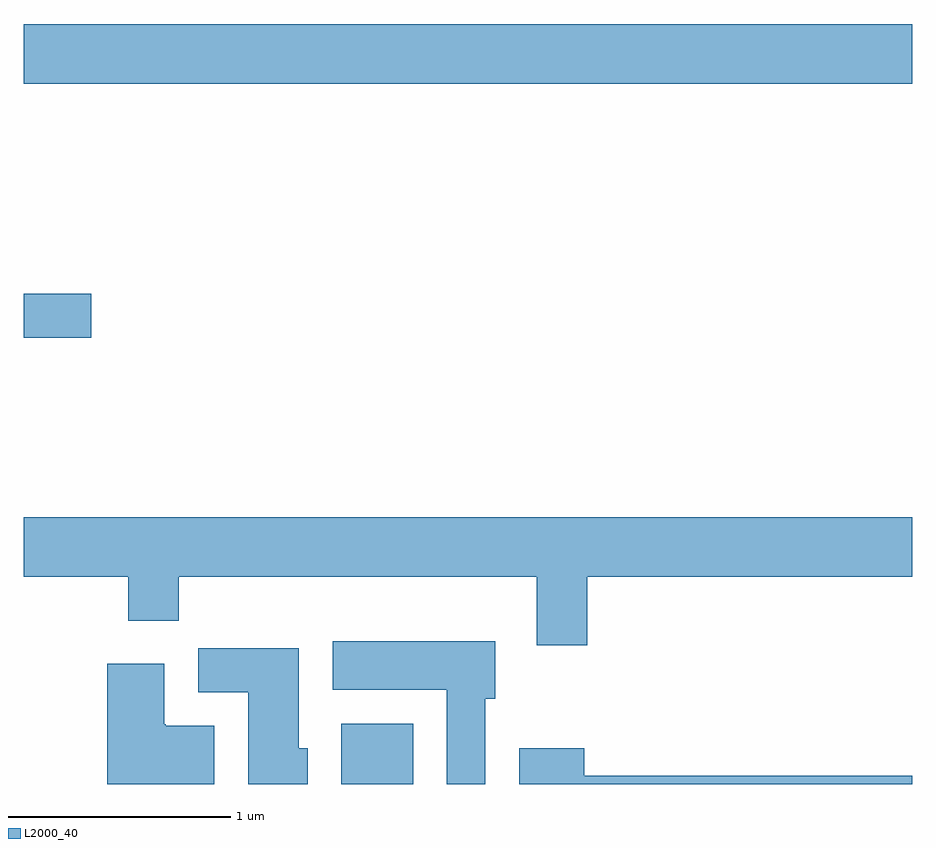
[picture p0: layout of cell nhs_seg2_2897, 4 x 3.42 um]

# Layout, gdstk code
import gdstk
lib = gdstk.Library(unit=1e-6, precision=1e-09)
def R(c, l, rs):  # rectangles x0, y0, x1, y1
    for r in rs: c.add(gdstk.rectangle(r[:2], r[2:], *l))
def P(c, l, *ps):  # polygons
    for p in ps: c.add(gdstk.Polygon(p, *l))
L2000_40 = (2000, 40)

nhs_seg2_2897 = lib.new_cell('nhs_seg2_2897')
R(nhs_seg2_2897, L2000_40, [(271.041,1071.802,271.364,1072.074), (269.611,1073.811,269.914,1074.009), (269.611,1074.956,273.611,1075.224)])
P(nhs_seg2_2897, L2000_40, [(272.149,1072.736),(273.611,1072.736),(273.611,1073.004),(269.611,1073.004),(269.611,1072.736),(270.081,1072.736),(270.081,1072.536),(270.309,1072.536),(270.309,1072.736),(271.921,1072.736),(271.921,1072.426),(272.149,1072.426)],
  [(271.689,1072.186),(271.734,1072.186),(271.734,1072.444),(271.001,1072.444),(271.001,1072.226),(271.516,1072.226),(271.516,1071.802),(271.689,1071.802)],
  [(270.889,1071.964),(270.849,1071.964),(270.849,1072.414),(270.396,1072.414),(270.396,1072.216),(270.621,1072.216),(270.621,1071.802),(270.889,1071.802)],
  [(270.469,1072.064),(270.25,1072.064),(270.25,1072.07),(270.244,1072.07),(270.244,1072.344),(269.986,1072.344),(269.986,1071.802),(270.469,1071.802)],
  [(273.611,1071.839),(272.134,1071.839),(272.134,1071.964),(271.841,1071.964),(271.841,1071.802),(273.611,1071.802)])

lib.write_gds('nhs_seg2_2897.gds')
